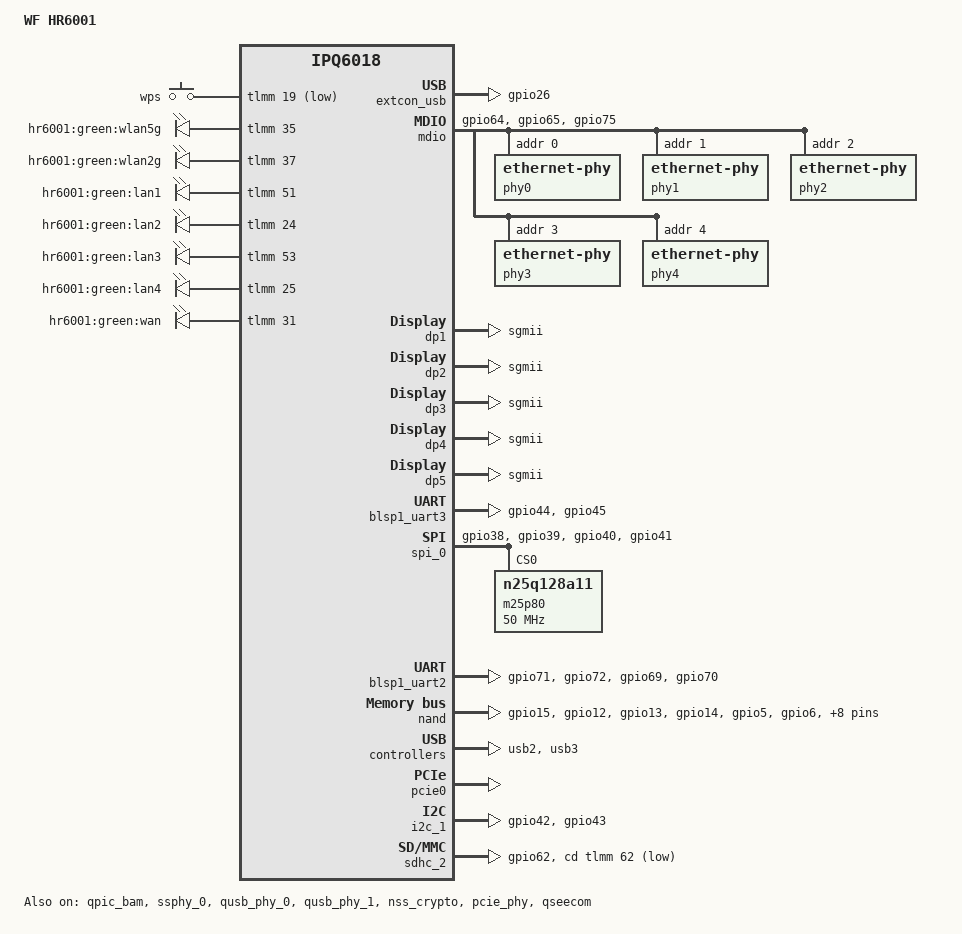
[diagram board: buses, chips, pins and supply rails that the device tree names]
/dts-v1/;
/*
 * Copyright (c) 2019, The Linux Foundation. All rights reserved.
 *
 * Permission to use, copy, modify, and/or distribute this software for any
 * purpose with or without fee is hereby granted, provided that the above
 * copyright notice and this permission notice appear in all copies.
 *
 * THE SOFTWARE IS PROVIDED "AS IS" AND THE AUTHOR DISCLAIMS ALL WARRANTIES
 * WITH REGARD TO THIS SOFTWARE INCLUDING ALL IMPLIED WARRANTIES OF
 * MERCHANTABILITY AND FITNESS. IN NO EVENT SHALL THE AUTHOR BE LIABLE FOR
 * ANY SPECIAL, DIRECT, INDIRECT, OR CONSEQUENTIAL DAMAGES OR ANY DAMAGES
 * WHATSOEVER RESULTING FROM LOSS OF USE, DATA OR PROFITS, WHETHER IN AN
 * ACTION OF CONTRACT, NEGLIGENCE OR OTHER TORTIOUS ACTION, ARISING OUT OF
 * OR IN CONNECTION WITH THE USE OR PERFORMANCE OF THIS SOFTWARE.
 */

#include "qcom-ipq6018.dtsi"
#include "qcom-ipq6018-rpm-regulator.dtsi"
#include "qcom-ipq6018-cpr-regulator.dtsi"
#include <dt-bindings/input/input.h>
#include <dt-bindings/gpio/gpio.h>
#include "qcom-ipq6018-cp-cpu.dtsi"

/ {
	#address-cells = <0x2>;
	#size-cells = <0x2>;
	model = "WF HR6001";
	compatible = "qcom,ap-cp01-c1", "qcom,ipq6018";
	interrupt-parent = <&intc>;
	qcom,msm-id = <0x192 0x0>, <0x193 0x0>;

	aliases {
		led-boot = &power;
		led-failsafe = &power;
		led-running = &power;
		led-upgrade = &power;
		serial0 = &blsp1_uart3;
		serial1 = &blsp1_uart2;
		sdhc2 = &sdhc_2;
		/*
		 * Aliases as required by u-boot
		 * to patch MAC addresses
		 */
		ethernet0 = "/soc/dp1";
		ethernet1 = "/soc/dp2";
		ethernet2 = "/soc/dp3";
		ethernet3 = "/soc/dp4";
		ethernet4 = "/soc/dp5";
	};

	chosen {
		bootargs = "console=ttyMSM0,115200,n8 rw init=/init";
#ifdef __IPQ_MEM_PROFILE_256_MB__
		bootargs-append = " swiotlb=1";
#else
		bootargs-append = " swiotlb=1 coherent_pool=2M";
#endif
	};

	/*
	 * +=========+==============+========================+
	 * |        |              |                         |
	 * | Region | Start Offset |          Size           |
	 * |        |              |                         |
	 * +--------+--------------+-------------------------+
	 * |        |              |                         |
	 * |        |              |                         |
	 * |        |              |                         |
	 * |        |              |                         |
	 * | Linux  |  0x41000000  |         139MB           |
	 * |        |              |                         |
	 * |        |              |                         |
	 * |        |              |                         |
	 * +--------+--------------+-------------------------+
	 * | TZ App |  0x49B00000  |           6MB           |
	 * +--------+--------------+-------------------------+
	 *
	 * From the available 145 MB for Linux in the first 256 MB,
	 * we are reserving 6 MB for TZAPP.
	 *
	 * Refer arch/arm64/boot/dts/qcom/qcom-ipq6018-memory.dtsi
	 * for memory layout.
	 */

	reserved-memory {
/* TZAPP is enabled in default memory profile only */
#if !defined(__IPQ_MEM_PROFILE_256_MB__) && !defined(__IPQ_MEM_PROFILE_512_MB__)
		tzapp:tzapp@49B00000 {	/* TZAPPS */
			no-map;
			reg = <0x0 0x49B00000 0x0 0x00600000>;
		};
#endif
	};
};

&tlmm {
	pinctrl-0 = <&sd_ldo_pins>;
	pinctrl-names = "default";

	uart_pins: uart_pins {
		mux {
			pins = "gpio44", "gpio45";
			function = "blsp2_uart";
			drive-strength = <8>;
			bias-pull-down;
		};
	};

	sd_ldo_pins: sd_ldo_pins {
		mux {
			pins = "gpio66";
			function = "gpio";
			drive-strength = <2>;
			bias-disable;
			output-low;
		};
	};

	i2c_1_pins: i2c_1_pins {
		mux {
			pins = "gpio42", "gpio43";
			function = "blsp2_i2c";
			drive-strength = <8>;
			bias-pull-down;
		};
	};

	spi_0_pins: spi_0_pins {
		mux {
			pins = "gpio38", "gpio39", "gpio40", "gpio41";
			function = "blsp0_spi";
			drive-strength = <8>;
			bias-pull-down;
		};
	};

	spi_1_pins: spi_1_pins {
		mux {
			pins = "gpio69", "gpio71", "gpio72";
			function = "blsp1_spi";
			drive-strength = <8>;
			bias-pull-down;
		};
		spi_cs {
			pins = "gpio70";
			function = "blsp1_spi";
			drive-strength = <8>;
			bias-disable;
		};
		quartz_interrupt {
			pins = "gpio78";
			function = "gpio";
			input;
			bias-disable;
		};
		quartz_reset {
			pins = "gpio79";
			function = "gpio";
			output-low;
			bias-disable;
		};

	};

	qpic_pins: qpic_pins {
		data_0 {
			pins = "gpio15";
			function = "qpic_pad0";
			drive-strength = <8>;
			bias-pull-down;
		};
		data_1 {
			pins = "gpio12";
			function = "qpic_pad1";
			drive-strength = <8>;
			bias-pull-down;
		};
		data_2 {
			pins = "gpio13";
			function = "qpic_pad2";
			drive-strength = <8>;
			bias-pull-down;
		};
		data_3 {
			pins = "gpio14";
			function = "qpic_pad3";
			drive-strength = <8>;
			bias-pull-down;
		};
		data_4 {
			pins = "gpio5";
			function = "qpic_pad4";
			drive-strength = <8>;
			bias-pull-down;
		};
		data_5 {
			pins = "gpio6";
			function = "qpic_pad5";
			drive-strength = <8>;
			bias-pull-down;
		};
		data_6 {
			pins = "gpio7";
			function = "qpic_pad6";
			drive-strength = <8>;
			bias-pull-down;
		};
		data_7 {
			pins = "gpio8";
			function = "qpic_pad7";
			drive-strength = <8>;
			bias-pull-down;
		};
		qpic_pad {
			pins = "gpio1", "gpio3", "gpio4",
			       "gpio10", "gpio11", "gpio17";
			function = "qpic_pad";
			drive-strength = <8>;
			bias-pull-down;
		};
	};

	sd_pins: sd_pins {
		mux {
			pins = "gpio62";
			function = "sd_card";
			drive-strength = <8>;
			bias-pull-up;
		};
	};

	extcon_usb_pins: extcon_usb_pins {
		mux {
			pins = "gpio26";
			function = "gpio";
			drive-strength = <2>;
			bias-pull-down;
		};
	};

	button_pins: button_pins {
		reset_button {
			pins = "gpio18";
			function = "gpio";
			drive-strength = <8>;
			bias-pull-up;
		};
	};

	mdio_pins: mdio_pinmux {
		mux_0 {
			pins = "gpio64";
			function = "mdc";
			drive-strength = <8>;
			bias-pull-up;
		};
		mux_1 {
			pins = "gpio65";
			function = "mdio";
			drive-strength = <8>;
			bias-pull-up;
		};
		mux_2 {
			pins = "gpio75";
			function = "gpio";
			bias-pull-up;
		};
	};

	leds_pins: leds_pins {

		wlan5g {
			pins = "gpio35";
			function = "gpio";
			drive-strength = <8>;
			bias-pull-down;
		};

		wlan2g {
			pins = "gpio37";
			function = "gpio";
			drive-strength = <8>;
			bias-pull-down;
		};

		lan1 {
			pins = "gpio51";
			function = "gpio";
			drive-strength = <8>;
			bias-pull-down;
		};

		lan2 {
			pins = "gpio24";
			function = "gpio";
			drive-strength = <8>;
			bias-pull-down;
		};

		lan3 {
			pins = "gpio53";
			function = "gpio";
			drive-strength = <8>;
			bias-pull-down;
		};

		lan4 {
			pins = "gpio25";
			function = "gpio";
			drive-strength = <8>;
			bias-pull-down;
		};

		wan {
			pins = "gpio9";
			function = "gpio";
			drive-strength = <31>;
			bias-pull-down;
		};
	};

	pcie0_pins: pcie_pins {
		pcie0_rst {
			pins = "gpio60";
			function = "pcie0_rst";
			drive-strength = <8>;
			bias-pull-down;
		};

		pcie0_wake {
			pins = "gpio36";
			function = "pcie0_wake";
			drive-strength = <8>;
			bias-pull-down;
		};
	};

	hsuart_pins: hsuart_pins {
		mux {
			pins = "gpio71", "gpio72", "gpio69", "gpio70";
			function = "blsp1_uart";
			drive-strength = <8>;
			bias-disable;
		};
	};
};

&soc {
	extcon_usb: extcon_usb {
		pinctrl-0 = <&extcon_usb_pins>;
		pinctrl-names = "default";
		id-gpio = <&tlmm 26 GPIO_ACTIVE_LOW>;
		status = "ok";
	};

	mdio: mdio@90000 {
		pinctrl-0 = <&mdio_pins>;
		pinctrl-names = "default";
		phy-reset-gpio = <&tlmm 75>;
		status = "ok";
		phy0: ethernet-phy@0 {
			reg = <0>;
		};
		phy1: ethernet-phy@1 {
			reg = <1>;
		};
		phy2: ethernet-phy@2 {
			reg = <2>;
		};
		phy3: ethernet-phy@3 {
			reg = <3>;
		};
		phy4: ethernet-phy@4 {
			reg = <4>;
		};
	};

	dp1 {
		device_type = "network";
		compatible = "qcom,nss-dp";
		qcom,id = <1>;
		reg = <0x3a001000 0x200>;
		qcom,mactype = <0>;
		local-mac-address = [000000000000];
		qcom,link-poll = <1>;
		qcom,phy-mdio-addr = <0>;
		phy-mode = "sgmii";
	};

	dp2 {
		device_type = "network";
		compatible = "qcom,nss-dp";
		qcom,id = <2>;
		reg = <0x3a001200 0x200>;
		qcom,mactype = <0>;
		local-mac-address = [000000000000];
		qcom,link-poll = <1>;
		qcom,phy-mdio-addr = <1>;
		phy-mode = "sgmii";
	};

	dp3 {
		device_type = "network";
		compatible = "qcom,nss-dp";
		qcom,id = <3>;
		reg = <0x3a001400 0x200>;
		qcom,mactype = <0>;
		local-mac-address = [000000000000];
		qcom,link-poll = <1>;
		qcom,phy-mdio-addr = <2>;
		phy-mode = "sgmii";
	};

	dp4 {
		device_type = "network";
		compatible = "qcom,nss-dp";
		qcom,id = <4>;
		reg = <0x3a001600 0x200>;
		qcom,mactype = <0>;
		local-mac-address = [000000000000];
		qcom,link-poll = <1>;
		qcom,phy-mdio-addr = <3>;
		phy-mode = "sgmii";
	};

	dp5 {
		device_type = "network";
		compatible = "qcom,nss-dp";
		qcom,id = <5>;
		reg = <0x3a001800 0x200>;
		qcom,mactype = <0>;
		local-mac-address = [000000000000];
		qcom,link-poll = <1>;
		qcom,phy-mdio-addr = <4>;
		phy-mode = "sgmii";
	};

	nss-macsec0 {
		compatible = "qcom,nss-macsec";
		phy_addr = <0x18>;
		phy_access_mode = <0>;
		mdiobus = <&mdio>;
	};

	ess-switch@3a000000 {
		switch_cpu_bmp = <0x1>;  /* cpu port bitmap */
		switch_lan_bmp = <0x1e>; /* lan port bitmap */
		switch_wan_bmp = <0x20>; /* wan port bitmap */
		switch_inner_bmp = <0xc0>; /*inner port bitmap*/
		switch_mac_mode = <0x0>; /* mac mode for uniphy instance0*/
		switch_mac_mode1 = <0xf>; /* mac mode for uniphy instance1*/
		switch_mac_mode2 = <0xff>; /* mac mode for uniphy instance2*/
		qcom,port_phyinfo {
			port@0 {
				port_id = <1>;
				phy_address = <0>;
			};
			port@1 {
				port_id = <2>;
				phy_address = <1>;
			};
			port@2 {
				port_id = <3>;
				phy_address = <2>;
			};
			port@3 {
				port_id = <4>;
				phy_address = <3>;
			};
			port@4 {
				port_id = <5>;
				phy_address = <4>;
			};
		};
	};

	gpio_keys {
		compatible = "gpio-keys";
		pinctrl-0 = <&button_pins>;
		pinctrl-names = "default";

		button@1 {
			label = "wps";
			linux,code = <KEY_WPS_BUTTON>;
			gpios = <&tlmm 19 GPIO_ACTIVE_LOW>;
			linux,input-type = <1>;
			debounce-interval = <60>;
		};
	};

	leds {
		compatible = "gpio-leds";
		pinctrl-0 = <&leds_pins>;
		pinctrl-names = "default";

		wlan5g {
			label = "hr6001:green:wlan5g";
			gpios = <&tlmm 35 GPIO_ACTIVE_HIGH>;
		};

		power: wlan2g {
			label = "hr6001:green:wlan2g";
			gpios = <&tlmm 37 GPIO_ACTIVE_HIGH>;
		};

		lan1 {
			label = "hr6001:green:lan1";
			gpios = <&tlmm 51 GPIO_ACTIVE_HIGH>;
		};

		lan2 {
			label = "hr6001:green:lan2";
			gpios = <&tlmm 24 GPIO_ACTIVE_HIGH>;
		};

		lan3 {
			label = "hr6001:green:lan3";
			gpios = <&tlmm 53 GPIO_ACTIVE_HIGH>;
		};

		lan4 {
			label = "hr6001:green:lan4";
			gpios = <&tlmm 25 GPIO_ACTIVE_HIGH>;
		};

		wan {
			label = "hr6001:green:wan";
			gpios = <&tlmm 31 GPIO_ACTIVE_HIGH>;
		};
	};
};

&blsp1_uart3 {
	pinctrl-0 = <&uart_pins>;
	pinctrl-names = "default";
	status = "ok";
};

&spi_0 {
	pinctrl-0 = <&spi_0_pins>;
	pinctrl-names = "default";
	cs-select = <0>;
	status = "ok";

	m25p80@0 {
		#address-cells = <1>;
		#size-cells = <1>;
		reg = <0>;
		compatible = "n25q128a11";
		linux,modalias = "m25p80", "n25q128a11";
		spi-max-frequency = <50000000>;
		use-default-sizes;

		SBL1@0 {
			label = "0:SBL1";
			reg = <0x0 0xc0000>;
			read-only;
		};

		MIBIB@c0000 {
			label = "0:MIBIB";
			reg = <0xc0000 0x10000>;
		};

		BOOTCONFIG@d0000 {
			label = "0:BOOTCONFIG";
			reg = <0xd0000 0x20000>;
			read-only;
		};

		BOOTCONFIG1@f0000 {
			label = "0:BOOTCONFIG1";
			reg = <0xf0000 0x20000>;
			read-only;
		};

		QSEE@110000 {
			label = "0:QSEE";
			reg = <0x110000 0x1a0000>;
			read-only;
		};

		QSEE_1@2b0000 {
			label = "0:QSEE_1";
			reg = <0x2b0000 0x1a0000>;
			read-only;
		};

		DEVCFG@450000 {
			label = "0:DEVCFG";
			reg = <0x450000 0x10000>;
			read-only;
		};

		DEVCFG_1@460000 {
			label = "0:DEVCFG_1";
			reg = <0x460000 0x10000>;
			read-only;
		};

		RPM@470000 {
			label = "0:RPM";
			reg = <0x4700000 0x40000>;
		};

		RPM_1@4b0000 {
			label = "0:RPM_1";
			reg = <0x4b0000 0x40000>;
			read-only;
		};

		CDT@4f0000 {
			label = "0:CDT";
			reg = <0x4f0000 0x10000>;
		};

		CDT_1@500000 {
			label = "0:CDT_1";
			reg = <0x500000 0x10000>;
			read-only;
		};

		APPSBLENV@510000 {
			label = "0:APPSBLENV";
			reg = <0x510000 0x10000>;
		};

		APPSBL@520000 {
			label = "0:APPSBL";
			reg = <0x520000 0xa0000>;
		};

		APPSBL_1@5c0000 {
			label = "0:APPSBL_1";
			reg = <0x5c0000 0xa0000>;
		};

		ART: ART@660000 {
			label = "0:ART";
			reg = <0x660000 0x40000>;
		};
	};
};

&blsp1_uart2 {
	pinctrl-0 = <&hsuart_pins>;
	pinctrl-names = "default";
	dmas = <&blsp_dma 2>,
		<&blsp_dma 3>;
	dma-names = "tx", "rx";
	status = "ok";
};

&spi_1 { /* BLSP1 QUP1 */
	pinctrl-0 = <&spi_1_pins>;
	pinctrl-names = "default";
	cs-select = <0>;
	quartz-reset-gpio = <&tlmm 79 1>;
	status = "disabled";
	spidev1: spi@1 {
		compatible = "qca,spidev";
		reg = <0>;
		spi-max-frequency = <24000000>;
	};
};

&qpic_bam {
	status = "ok";
};

&nand {
	pinctrl-0 = <&qpic_pins>;
	pinctrl-names = "default";
	status = "ok";
};

&ssphy_0 {
	status = "ok";
};

&qusb_phy_0 {
	status = "ok";
};

&qusb_phy_1 {
	status = "ok";
};

&usb2 {
	status = "ok";
};

&usb3 {
	status = "ok";
};

&nss_crypto {
	status = "ok";
};

&pcie_phy {
	status = "ok";
};

&pcie0 {
	status = "ok";
};

&i2c_1 {
	pinctrl-0 = <&i2c_1_pins>;
	pinctrl-names = "default";
	status = "ok";
};

&sdhc_2 {
	pinctrl-0 = <&sd_pins>;
	pinctrl-names = "default";
	cd-gpios = <&tlmm 62 1>;
	sd-ldo-gpios = <&tlmm 66 0>;
	vqmmc-supply = <&ipq6018_l2_corner>;
	status = "ok";
};

/* TZAPP is enabled in default memory profile only */
#if !defined(__IPQ_MEM_PROFILE_256_MB__) && !defined(__IPQ_MEM_PROFILE_512_MB__)
&qseecom {
	mem-start = <0x49B00000>;
	mem-size = <0x600000>;
	status = "ok";
};
#endif
